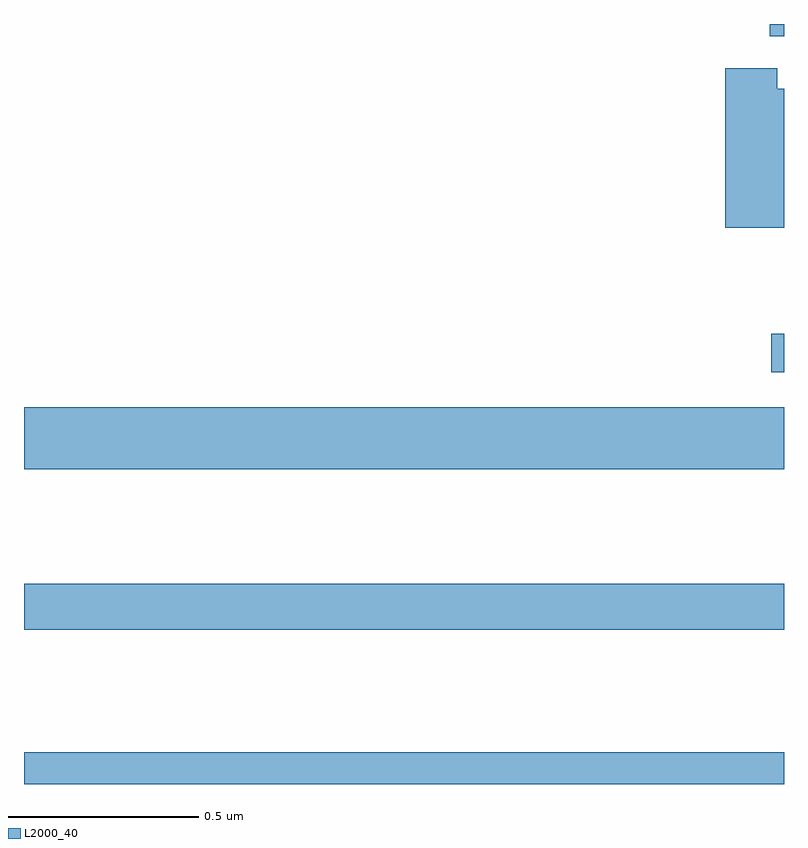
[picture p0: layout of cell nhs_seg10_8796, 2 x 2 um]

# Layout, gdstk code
import gdstk
lib = gdstk.Library(unit=1e-6, precision=1e-09)
def R(c, l, rs):  # rectangles x0, y0, x1, y1
    for r in rs: c.add(gdstk.rectangle(r[:2], r[2:], *l))
def P(c, l, *ps):  # polygons
    for p in ps: c.add(gdstk.Polygon(p, *l))
L2000_40 = (2000, 40)

nhs_seg10_8796 = lib.new_cell('nhs_seg10_8796')
R(nhs_seg10_8796, L2000_40, [(221,1287.5,223,1287.583), (221,1287.906,223,1288.027), (221,1288.328,223,1288.492), (222.966,1288.584,223,1288.685), (222.962,1289.468,223,1289.5)])
P(nhs_seg10_8796, L2000_40, [(223,1289.329),(222.982,1289.329),(222.982,1289.383),(222.845,1289.383),(222.845,1288.964),(223,1288.964)])

lib.write_gds('nhs_seg10_8796.gds')
